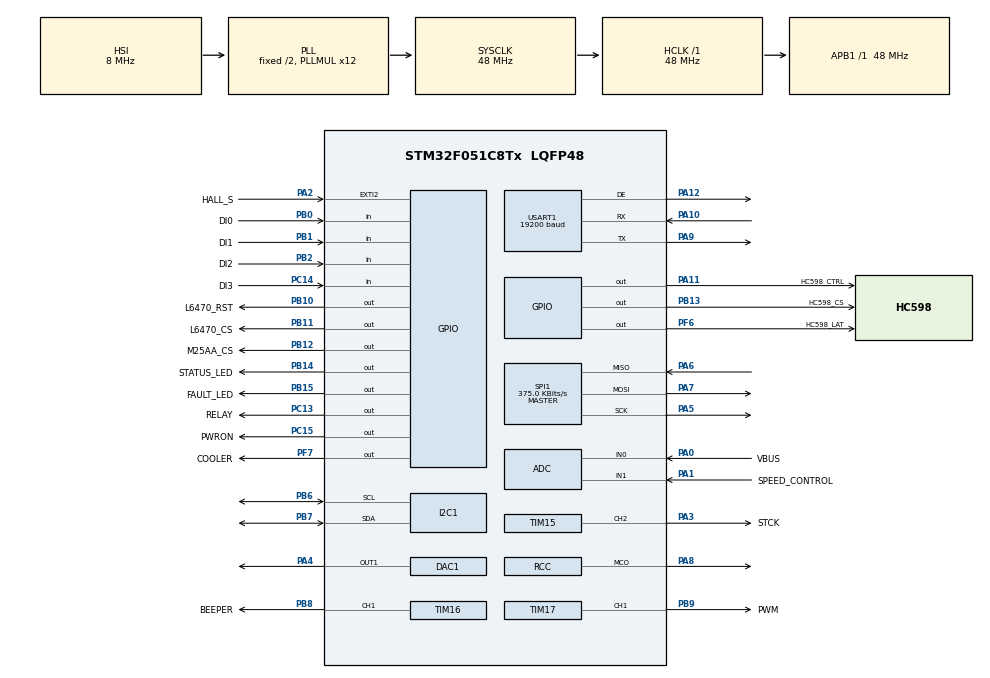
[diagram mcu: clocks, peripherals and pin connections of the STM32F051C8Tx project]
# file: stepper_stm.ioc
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ADC.Channel-1\#ChannelRegularConversion=ADC_CHANNEL_1
ADC.Channel-2\#ChannelRegularConversion=ADC_CHANNEL_TEMPSENSOR
ADC.Channel-IN=ADC_CHANNEL_TEMPSENSOR
ADC.Channel-IN1=ADC_CHANNEL_1
ADC.NbrOfConversion=3
ADC.NbrOfConversionFlag=1
ADC.Rank-0\#ChannelRegularConversion=1
ADC.Rank-1\#ChannelRegularConversion=2
ADC.Rank-2\#ChannelRegularConversion=3
ADC.SamplingTime=ADC_SAMPLETIME_13CYCLES_5
ADC.master=1
DAC1.DAC_OutputBuffer-DAC_OUT1=DAC_OUTPUTBUFFER_ENABLE
DAC1.DAC_Trigger-DAC_OUT1=DAC_TRIGGER_NONE
Mcu.Family=STM32F0
Mcu.Name=STM32F051C8Tx
Mcu.Package=LQFP48
Mcu.UserConstants=USE_HC598,1
NVIC.EXTI2_3_IRQn=true\:0\:0\:false\:false\:true\:true
NVIC.TIM6_DAC_IRQn=true\:0\:0\:false\:false\:true\:true
NVIC.USART1_IRQn=true\:0\:0\:false\:false\:true\:true
PA0.GPIO_Label=VBUS
PA0.Mode=IN0
PA0.Signal=ADC_IN0
PA1.GPIO_Label=SPEED_CONTROL
PA1.Mode=IN1
PA1.Signal=ADC_IN1
PA10.Mode=Asynchronous
PA10.Signal=USART1_RX
PA11.GPIO_Label=HC598_CTRL
PA11.GPIO_PuPd=GPIO_NOPULL
PA11.PinState=GPIO_PIN_SET
PA11.Signal=GPIO_Output
PA12.Mode=Hardware Flow Control (RS485)
PA12.Signal=USART1_DE
PA13.Mode=Serial_Wire
PA13.Signal=SYS_SWDIO
PA14.Mode=Serial_Wire
PA14.Signal=SYS_SWCLK
PA2.GPIO_Label=HALL_S
PA2.Signal=GPXTI2
PA3.GPIO_Label=STCK
PA3.Signal=S_TIM15_CH2
PA4.Signal=COMP_DAC11_group
PA5.GPIO_PuPd=GPIO_NOPULL
PA5.Mode=Full_Duplex_Master
PA5.Signal=SPI1_SCK
PA6.GPIO_PuPd=GPIO_NOPULL
PA6.Mode=Full_Duplex_Master
PA6.Signal=SPI1_MISO
PA7.GPIO_PuPd=GPIO_NOPULL
PA7.Mode=Full_Duplex_Master
PA7.Signal=SPI1_MOSI
PA8.Mode=Clock-out
PA8.Signal=RCC_MCO
PA9.Mode=Asynchronous
PA9.Signal=USART1_TX
PB0.GPIO_Label=DI0
PB0.GPIO_PuPd=GPIO_PULLUP
PB0.Signal=GPIO_Input
PB1.GPIO_Label=DI1
PB1.GPIO_PuPd=GPIO_PULLUP
PB1.Signal=GPIO_Input
PB10.GPIO_Label=L6470_RST
PB10.GPIO_PuPd=GPIO_PULLUP
PB10.Signal=GPIO_Output
PB11.GPIO_Label=L6470_CS
PB11.PinState=GPIO_PIN_SET
PB11.Signal=GPIO_Output
PB12.GPIO_Label=M25AA_CS
PB12.PinState=GPIO_PIN_SET
PB12.Signal=GPIO_Output
PB13.GPIO_Label=HC598_CS
PB13.PinState=GPIO_PIN_SET
PB13.Signal=GPIO_Output
PB14.GPIO_Label=STATUS_LED
PB14.GPIO_PuPd=GPIO_PULLUP
PB14.Signal=GPIO_Output
PB15.GPIO_Label=FAULT_LED
PB15.GPIO_PuPd=GPIO_PULLUP
PB15.Signal=GPIO_Output
PB2.GPIO_Label=DI2
PB2.GPIO_PuPd=GPIO_PULLUP
PB2.Signal=GPIO_Input
PB6.Mode=I2C
PB6.Signal=I2C1_SCL
PB7.Mode=I2C
PB7.Signal=I2C1_SDA
PB8.GPIO_Label=BEEPER
PB8.Signal=S_TIM16_CH1
PB9.GPIO_Label=PWM
PB9.Signal=S_TIM17_CH1
PC13.GPIO_Label=RELAY
PC13.Signal=GPIO_Output
PC14-OSC32_IN.GPIO_Label=DI3
PC14-OSC32_IN.GPIO_PuPd=GPIO_PULLUP
PC14-OSC32_IN.Signal=GPIO_Input
PC15-OSC32_OUT.GPIO_Label=PWRON
PC15-OSC32_OUT.Signal=GPIO_Output
PF0-OSC_IN.Mode=HSE-External-Oscillator
PF0-OSC_IN.Signal=RCC_OSC_IN
PF1-OSC_OUT.Mode=HSE-External-Oscillator
PF1-OSC_OUT.Signal=RCC_OSC_OUT
PF6.GPIO_Label=HC598_LAT
PF6.Signal=GPIO_Output
PF7.GPIO_Label=COOLER
PF7.Signal=GPIO_Output
ProjectManager.HeapSize=0x200
ProjectManager.StackSize=0x400
ProjectManager.TargetToolchain=Other Toolchains (GPDSC)
RCC.AHBFreq_Value=48000000
RCC.APB1Freq_Value=48000000
RCC.APB1TimFreq_Value=48000000
RCC.FLatency=FLASH_LATENCY_1
RCC.HCLKFreq_Value=48000000
RCC.HSI14CalibrationValue=16
RCC.PLLMUL=RCC_PLL_MUL12
RCC.SYSCLKFreq_VALUE=48000000
RCC.SYSCLKSource=RCC_SYSCLKSOURCE_PLLCLK
SH.COMP_DAC11_group.0=DAC1_OUT1,DAC_OUT1
SH.S_TIM15_CH2.0=TIM15_CH2,Output Compare2 CH2
SH.S_TIM16_CH1.0=TIM16_CH1,Output Compare1 CH1
SH.S_TIM17_CH1.0=TIM17_CH1,PWM Generation1 CH1
SPI1.BaudRatePrescaler=SPI_BAUDRATEPRESCALER_128
SPI1.CalculateBaudRate=375.0 KBits/s
SPI1.DataSize=SPI_DATASIZE_8BIT
SPI1.Direction=SPI_DIRECTION_2LINES
SPI1.Mode=SPI_MODE_MASTER
SPI1.VirtualType=VM_MASTER
TIM14.Period=1000
TIM15.Channel-Output\ Compare2\ CH2=TIM_CHANNEL_2
TIM16.Channel=TIM_CHANNEL_1
TIM16.OCMode_1=TIM_OCMODE_TOGGLE
TIM16.Period=24000
TIM17.Channel=TIM_CHANNEL_1
TIM6.Period=1000
USART1.BaudRate=19200
USART1.VirtualMode-Asynchronous=VM_ASYNC
USART1.VirtualMode-Hardware\ Flow\ Control\ (RS485)=VM_ASYNC
VP_ADC_TempSens_Input.Mode=IN-TempSens
VP_IWDG_VS_IWDG.Mode=IWDG_Activate
VP_TIM14_VS_ClockSourceINT.Mode=Enable_Timer
VP_TIM16_VS_ClockSourceINT.Mode=Enable_Timer
VP_TIM17_VS_ClockSourceINT.Mode=Enable_Timer
VP_TIM6_VS_ClockSourceINT.Mode=Enable_Timer
VP_TIM6_VS_OPM.Mode=OPM_bit
board=custom

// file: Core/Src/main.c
/**
  ******************************************************************************
  * @file           : main.c
  * @brief          : Main program body
  ******************************************************************************
  ** This notice applies to any and all portions of this file
  * that are not between comment pairs USER CODE BEGIN and
  * USER CODE END. Other portions of this file, whether
  * inserted by the user or by software development tools
  * are owned by their respective copyright owners.
  *
  * COPYRIGHT(c) 2018 STMicroelectronics
  *
  * Redistribution and use in source and binary forms, with or without modification,
  * are permitted provided that the following conditions are met:
  *   1. Redistributions of source code must retain the above copyright notice,
  *      this list of conditions and the following disclaimer.
  *   2. Redistributions in binary form must reproduce the above copyright notice,
  *      this list of conditions and the following disclaimer in the documentation
  *      and/or other materials provided with the distribution.
  *   3. Neither the name of STMicroelectronics nor the names of its contributors
  *      may be used to endorse or promote products derived from this software
  *      without specific prior written permission.
  *
  * THIS SOFTWARE IS PROVIDED BY THE COPYRIGHT HOLDERS AND CONTRIBUTORS "AS IS"
  * AND ANY EXPRESS OR IMPLIED WARRANTIES, INCLUDING, BUT NOT LIMITED TO, THE
  * IMPLIED WARRANTIES OF MERCHANTABILITY AND FITNESS FOR A PARTICULAR PURPOSE ARE
  * DISCLAIMED. IN NO EVENT SHALL THE COPYRIGHT HOLDER OR CONTRIBUTORS BE LIABLE
  * FOR ANY DIRECT, INDIRECT, INCIDENTAL, SPECIAL, EXEMPLARY, OR CONSEQUENTIAL
  * DAMAGES (INCLUDING, BUT NOT LIMITED TO, PROCUREMENT OF SUBSTITUTE GOODS OR
  * SERVICES; LOSS OF USE, DATA, OR PROFITS; OR BUSINESS INTERRUPTION) HOWEVER
  * CAUSED AND ON ANY THEORY OF LIABILITY, WHETHER IN CONTRACT, STRICT LIABILITY,
  * OR TORT (INCLUDING NEGLIGENCE OR OTHERWISE) ARISING IN ANY WAY OUT OF THE USE
  * OF THIS SOFTWARE, EVEN IF ADVISED OF THE POSSIBILITY OF SUCH DAMAGE.
  *
  ******************************************************************************
  */
#include "main.h"
#include "stm32f0xx_hal.h"

/* USER CODE BEGIN Includes */
#include "software.h"
#include "user_mb_app.h"
#include "board_cmsis.h"

/* USER CODE END Includes */

ADC_HandleTypeDef hadc;

DAC_HandleTypeDef hdac1;

I2C_HandleTypeDef hi2c1;

IWDG_HandleTypeDef hiwdg;

SPI_HandleTypeDef hspi1;

TIM_HandleTypeDef htim6;
TIM_HandleTypeDef htim14;
TIM_HandleTypeDef htim15;
TIM_HandleTypeDef htim16;
TIM_HandleTypeDef htim17;

UART_HandleTypeDef huart1;

void SystemClock_Config(void);
static void MX_GPIO_Init(void);
static void MX_ADC_Init(void);
static void MX_DAC1_Init(void);
static void MX_I2C1_Init(void);
static void MX_IWDG_Init(void);
static void MX_SPI1_Init(void);
static void MX_TIM6_Init(void);
static void MX_TIM14_Init(void);
static void MX_TIM15_Init(void);
static void MX_TIM16_Init(void);
static void MX_TIM17_Init(void);
static void MX_USART1_UART_Init(void);

void HAL_TIM_MspPostInit(TIM_HandleTypeDef *htim);

/* USER CODE BEGIN PFP */
SmcHandle_TypeDef SMC_Control;

MbPortParams_TypeDef MbPortParams = {
    .Uart = MB_PORT_DEF,
    .ModbusActive = false,
    .MbAddr = { .pmbus = &usRegHoldingBuf[HR_MBADDR], .cvalue = MBADDR_DEF},
    .Baudrate = { .pmbus = &usRegHoldingBuf[HR_MBBAUDRATE], .cvalue = MBBAURATE_DEF },
    .Parity = { .pmbus = &usRegHoldingBuf[HR_MBPARITY], .cvalue = MBPARITY_DEF },
    .StopBits = { .pmbus = &usRegHoldingBuf[HR_MBSTOPBITS], .cvalue = MBSTOPBITS_DEF },
    .DataBits  = { .pmbus = NULL, .cvalue = MBWORDLENGHT_DEF }
};

uint32_t timestamp = 0, wtime = 0;
/* Private function prototypes -----------------------------------------------*/
/* USER CODE END PFP */

int main(void)
{
  /* USER CODE BEGIN 1 */
    static uint32_t delay = 0;
  /* USER CODE END 1 */

  /* MCU Configuration----------------------------------------------------------*/

  /* Reset of all peripherals, Initializes the Flash interface and the Systick. */
  HAL_Init();

  /* Configure the system clock */
  SystemClock_Config();

  /* Initialize all configured peripherals */
  MX_GPIO_Init();
  MX_ADC_Init();
  MX_DAC1_Init();
  MX_I2C1_Init();
  //MX_IWDG_Init();
  MX_SPI1_Init();
  MX_TIM6_Init();
  MX_TIM14_Init();
  MX_TIM15_Init();
  MX_TIM16_Init();
  MX_TIM17_Init();
  MX_USART1_UART_Init();
  /* USER CODE BEGIN 2 */

    wtime = GetWTime();

    BSP_HW_Init();

    SMC_Control.SMC_State = FSM_STATE_INIT;

  /* USER CODE END 2 */

  /* Infinite loop */
  /* USER CODE BEGIN WHILE */
  while (1)
  {
      if(delay < timestamp){

            /* resetinam watchdog'a */
            if( xMbGetCoil( CO_WDT_FUNC ) != RESET ){
                (void)HAL_IWDG_Refresh(&hiwdg);
            }

            delay = timestamp + 20;

            SystemDataUpdate();

            MbDataUpdate();

            LedsController();

            FSM_Manager();
      }
  /* USER CODE END WHILE */

  /* USER CODE BEGIN 3 */
    (void)eMBPoll();
  }
  /* USER CODE END 3 */

}

void SystemClock_Config(void)
{

  RCC_OscInitTypeDef RCC_OscInitStruct;
  RCC_ClkInitTypeDef RCC_ClkInitStruct;
  RCC_PeriphCLKInitTypeDef PeriphClkInit;

    /**Initializes the CPU, AHB and APB busses clocks
    */
  RCC_OscInitStruct.OscillatorType = RCC_OSCILLATORTYPE_HSI|RCC_OSCILLATORTYPE_HSI14
                              |RCC_OSCILLATORTYPE_LSI;
  RCC_OscInitStruct.HSIState = RCC_HSI_ON;
  RCC_OscInitStruct.HSI14State = RCC_HSI14_ON;
  RCC_OscInitStruct.HSICalibrationValue = 16;
  RCC_OscInitStruct.HSI14CalibrationValue = 16;
  RCC_OscInitStruct.LSIState = RCC_LSI_ON;
  RCC_OscInitStruct.PLL.PLLState = RCC_PLL_ON;
  RCC_OscInitStruct.PLL.PLLSource = RCC_PLLSOURCE_HSI;
  RCC_OscInitStruct.PLL.PLLMUL = RCC_PLL_MUL12;
  RCC_OscInitStruct.PLL.PREDIV = RCC_PREDIV_DIV1;
  if (HAL_RCC_OscConfig(&RCC_OscInitStruct) != HAL_OK)
  {
    _Error_Handler(__FILE__, __LINE__);
  }

    /**Initializes the CPU, AHB and APB busses clocks
    */
  RCC_ClkInitStruct.ClockType = RCC_CLOCKTYPE_HCLK|RCC_CLOCKTYPE_SYSCLK
                              |RCC_CLOCKTYPE_PCLK1;
  RCC_ClkInitStruct.SYSCLKSource = RCC_SYSCLKSOURCE_PLLCLK;
  RCC_ClkInitStruct.AHBCLKDivider = RCC_SYSCLK_DIV1;
  RCC_ClkInitStruct.APB1CLKDivider = RCC_HCLK_DIV1;

  if (HAL_RCC_ClockConfig(&RCC_ClkInitStruct, FLASH_LATENCY_1) != HAL_OK)
  {
    _Error_Handler(__FILE__, __LINE__);
  }

  PeriphClkInit.PeriphClockSelection = RCC_PERIPHCLK_USART1|RCC_PERIPHCLK_I2C1;
  PeriphClkInit.Usart1ClockSelection = RCC_USART1CLKSOURCE_PCLK1;
  PeriphClkInit.I2c1ClockSelection = RCC_I2C1CLKSOURCE_HSI;
  if (HAL_RCCEx_PeriphCLKConfig(&PeriphClkInit) != HAL_OK)
  {
    _Error_Handler(__FILE__, __LINE__);
  }

  HAL_RCC_MCOConfig(RCC_MCO, RCC_MCO1SOURCE_SYSCLK, RCC_MCODIV_1);

    /**Configure the Systick interrupt time
    */
  HAL_SYSTICK_Config(HAL_RCC_GetHCLKFreq()/1000);

    /**Configure the Systick
    */
  HAL_SYSTICK_CLKSourceConfig(SYSTICK_CLKSOURCE_HCLK);

  /* SysTick_IRQn interrupt configuration */
  HAL_NVIC_SetPriority(SysTick_IRQn, 0, 0);
}

/* ADC init function */
static void MX_ADC_Init(void)
{

  ADC_ChannelConfTypeDef sConfig;

    /**Configure the global features of the ADC (Clock, Resolution, Data Alignment and number of conversion)
    */
  hadc.Instance = ADC1;
  hadc.Init.ClockPrescaler = ADC_CLOCK_ASYNC_DIV1;
  hadc.Init.Resolution = ADC_RESOLUTION_12B;
  hadc.Init.DataAlign = ADC_DATAALIGN_RIGHT;
  hadc.Init.ScanConvMode = ADC_SCAN_DIRECTION_FORWARD;
  hadc.Init.EOCSelection = ADC_EOC_SINGLE_CONV;
  hadc.Init.LowPowerAutoWait = DISABLE;
  hadc.Init.LowPowerAutoPowerOff = DISABLE;
  hadc.Init.ContinuousConvMode = DISABLE;
  hadc.Init.DiscontinuousConvMode = DISABLE;
  hadc.Init.ExternalTrigConv = ADC_SOFTWARE_START;
  hadc.Init.ExternalTrigConvEdge = ADC_EXTERNALTRIGCONVEDGE_NONE;
  hadc.Init.DMAContinuousRequests = DISABLE;
  hadc.Init.Overrun = ADC_OVR_DATA_PRESERVED;
  if (HAL_ADC_Init(&hadc) != HAL_OK)
  {
    _Error_Handler(__FILE__, __LINE__);
  }

    /**Configure for the selected ADC regular channel to be converted.
    */
  sConfig.Channel = ADC_CHANNEL_0;
  sConfig.Rank = ADC_RANK_CHANNEL_NUMBER;
  sConfig.SamplingTime = ADC_SAMPLETIME_13CYCLES_5;
  if (HAL_ADC_ConfigChannel(&hadc, &sConfig) != HAL_OK)
  {
    _Error_Handler(__FILE__, __LINE__);
  }

    /**Configure for the selected ADC regular channel to be converted.
    */
  sConfig.Channel = ADC_CHANNEL_1;
  if (HAL_ADC_ConfigChannel(&hadc, &sConfig) != HAL_OK)
  {
    _Error_Handler(__FILE__, __LINE__);
  }

    /**Configure for the selected ADC regular channel to be converted.
    */
  sConfig.Channel = ADC_CHANNEL_TEMPSENSOR;
  if (HAL_ADC_ConfigChannel(&hadc, &sConfig) != HAL_OK)
  {
    _Error_Handler(__FILE__, __LINE__);
  }

}

/* DAC1 init function */
static void MX_DAC1_Init(void)
{

  DAC_ChannelConfTypeDef sConfig;

    /**DAC Initialization
    */
  hdac1.Instance = DAC;
  if (HAL_DAC_Init(&hdac1) != HAL_OK)
  {
    _Error_Handler(__FILE__, __LINE__);
  }

    /**DAC channel OUT1 config
    */
  sConfig.DAC_Trigger = DAC_TRIGGER_NONE;
  sConfig.DAC_OutputBuffer = DAC_OUTPUTBUFFER_ENABLE;
  if (HAL_DAC_ConfigChannel(&hdac1, &sConfig, DAC_CHANNEL_1) != HAL_OK)
  {
    _Error_Handler(__FILE__, __LINE__);
  }

}

/* I2C1 init function */
static void MX_I2C1_Init(void)
{

  hi2c1.Instance = I2C1;
  hi2c1.Init.Timing = 0x2000090E;
  hi2c1.Init.OwnAddress1 = 0;
  hi2c1.Init.AddressingMode = I2C_ADDRESSINGMODE_7BIT;
  hi2c1.Init.DualAddressMode = I2C_DUALADDRESS_DISABLE;
  hi2c1.Init.OwnAddress2 = 0;
  hi2c1.Init.OwnAddress2Masks = I2C_OA2_NOMASK;
  hi2c1.Init.GeneralCallMode = I2C_GENERALCALL_DISABLE;
  hi2c1.Init.NoStretchMode = I2C_NOSTRETCH_DISABLE;
  if (HAL_I2C_Init(&hi2c1) != HAL_OK)
  {
    _Error_Handler(__FILE__, __LINE__);
  }

    /**Configure Analogue filter
    */
  if (HAL_I2CEx_ConfigAnalogFilter(&hi2c1, I2C_ANALOGFILTER_ENABLE) != HAL_OK)
  {
    _Error_Handler(__FILE__, __LINE__);
  }

    /**Configure Digital filter
    */
  if (HAL_I2CEx_ConfigDigitalFilter(&hi2c1, 0) != HAL_OK)
  {
    _Error_Handler(__FILE__, __LINE__);
  }

}

/* IWDG init function */
static void MX_IWDG_Init(void)
{

  hiwdg.Instance = IWDG;
  hiwdg.Init.Prescaler = IWDG_PRESCALER_4;
  hiwdg.Init.Window = 4095;
  hiwdg.Init.Reload = 4095;
  if (HAL_IWDG_Init(&hiwdg) != HAL_OK)
  {
    _Error_Handler(__FILE__, __LINE__);
  }

}

/* SPI1 init function */
static void MX_SPI1_Init(void)
{

  /* SPI1 parameter configuration*/
  hspi1.Instance = SPI1;
  hspi1.Init.Mode = SPI_MODE_MASTER;
  hspi1.Init.Direction = SPI_DIRECTION_2LINES;
  hspi1.Init.DataSize = SPI_DATASIZE_8BIT;
  hspi1.Init.CLKPolarity = SPI_POLARITY_LOW;
  hspi1.Init.CLKPhase = SPI_PHASE_1EDGE;
  hspi1.Init.NSS = SPI_NSS_SOFT;
  hspi1.Init.BaudRatePrescaler = SPI_BAUDRATEPRESCALER_128;
  hspi1.Init.FirstBit = SPI_FIRSTBIT_MSB;
  hspi1.Init.TIMode = SPI_TIMODE_DISABLE;
  hspi1.Init.CRCCalculation = SPI_CRCCALCULATION_DISABLE;
  hspi1.Init.CRCPolynomial = 7;
  hspi1.Init.CRCLength = SPI_CRC_LENGTH_DATASIZE;
  hspi1.Init.NSSPMode = SPI_NSS_PULSE_ENABLE;
  if (HAL_SPI_Init(&hspi1) != HAL_OK)
  {
    _Error_Handler(__FILE__, __LINE__);
  }

}

/* TIM6 init function */
static void MX_TIM6_Init(void)
{

  TIM_MasterConfigTypeDef sMasterConfig;

  htim6.Instance = TIM6;
  htim6.Init.Prescaler = 0;
  htim6.Init.CounterMode = TIM_COUNTERMODE_UP;
  htim6.Init.Period = 1000;
  htim6.Init.AutoReloadPreload = TIM_AUTORELOAD_PRELOAD_DISABLE;
  if (HAL_TIM_Base_Init(&htim6) != HAL_OK)
  {
    _Error_Handler(__FILE__, __LINE__);
  }

  if (HAL_TIM_OnePulse_Init(&htim6, TIM_OPMODE_SINGLE) != HAL_OK)
  {
    _Error_Handler(__FILE__, __LINE__);
  }

  sMasterConfig.MasterOutputTrigger = TIM_TRGO_RESET;
  sMasterConfig.MasterSlaveMode = TIM_MASTERSLAVEMODE_DISABLE;
  if (HAL_TIMEx_MasterConfigSynchronization(&htim6, &sMasterConfig) != HAL_OK)
  {
    _Error_Handler(__FILE__, __LINE__);
  }

}

/* TIM14 init function */
static void MX_TIM14_Init(void)
{

  htim14.Instance = TIM14;
  htim14.Init.Prescaler = 0;
  htim14.Init.CounterMode = TIM_COUNTERMODE_UP;
  htim14.Init.Period = 1000;
  htim14.Init.ClockDivision = TIM_CLOCKDIVISION_DIV1;
  htim14.Init.AutoReloadPreload = TIM_AUTORELOAD_PRELOAD_DISABLE;
  if (HAL_TIM_Base_Init(&htim14) != HAL_OK)
  {
    _Error_Handler(__FILE__, __LINE__);
  }

}

/* TIM15 init function */
static void MX_TIM15_Init(void)
{

  TIM_MasterConfigTypeDef sMasterConfig;
  TIM_OC_InitTypeDef sConfigOC;
  TIM_BreakDeadTimeConfigTypeDef sBreakDeadTimeConfig;

  htim15.Instance = TIM15;
  htim15.Init.Prescaler = 0;
  htim15.Init.CounterMode = TIM_COUNTERMODE_UP;
  htim15.Init.Period = 0;
  htim15.Init.ClockDivision = TIM_CLOCKDIVISION_DIV1;
  htim15.Init.RepetitionCounter = 0;
  htim15.Init.AutoReloadPreload = TIM_AUTORELOAD_PRELOAD_DISABLE;
  if (HAL_TIM_OC_Init(&htim15) != HAL_OK)
  {
    _Error_Handler(__FILE__, __LINE__);
  }

  sMasterConfig.MasterOutputTrigger = TIM_TRGO_RESET;
  sMasterConfig.MasterSlaveMode = TIM_MASTERSLAVEMODE_DISABLE;
  if (HAL_TIMEx_MasterConfigSynchronization(&htim15, &sMasterConfig) != HAL_OK)
  {
    _Error_Handler(__FILE__, __LINE__);
  }

  sConfigOC.OCMode = TIM_OCMODE_TIMING;
  sConfigOC.Pulse = 0;
  sConfigOC.OCPolarity = TIM_OCPOLARITY_HIGH;
  sConfigOC.OCNPolarity = TIM_OCNPOLARITY_HIGH;
  sConfigOC.OCFastMode = TIM_OCFAST_DISABLE;
  sConfigOC.OCIdleState = TIM_OCIDLESTATE_RESET;
  sConfigOC.OCNIdleState = TIM_OCNIDLESTATE_RESET;
  if (HAL_TIM_OC_ConfigChannel(&htim15, &sConfigOC, TIM_CHANNEL_2) != HAL_OK)
  {
    _Error_Handler(__FILE__, __LINE__);
  }

  sBreakDeadTimeConfig.OffStateRunMode = TIM_OSSR_DISABLE;
  sBreakDeadTimeConfig.OffStateIDLEMode = TIM_OSSI_DISABLE;
  sBreakDeadTimeConfig.LockLevel = TIM_LOCKLEVEL_OFF;
  sBreakDeadTimeConfig.DeadTime = 0;
  sBreakDeadTimeConfig.BreakState = TIM_BREAK_DISABLE;
  sBreakDeadTimeConfig.BreakPolarity = TIM_BREAKPOLARITY_HIGH;
  sBreakDeadTimeConfig.AutomaticOutput = TIM_AUTOMATICOUTPUT_DISABLE;
  if (HAL_TIMEx_ConfigBreakDeadTime(&htim15, &sBreakDeadTimeConfig) != HAL_OK)
  {
    _Error_Handler(__FILE__, __LINE__);
  }

  HAL_TIM_MspPostInit(&htim15);

}

/* TIM16 init function */
static void MX_TIM16_Init(void)
{

  TIM_OC_InitTypeDef sConfigOC;
  TIM_BreakDeadTimeConfigTypeDef sBreakDeadTimeConfig;

  htim16.Instance = TIM16;
  htim16.Init.Prescaler = 0;
  htim16.Init.CounterMode = TIM_COUNTERMODE_UP;
  htim16.Init.Period = 24000;
  htim16.Init.ClockDivision = TIM_CLOCKDIVISION_DIV1;
  htim16.Init.RepetitionCounter = 0;
  htim16.Init.AutoReloadPreload = TIM_AUTORELOAD_PRELOAD_DISABLE;
  if (HAL_TIM_Base_Init(&htim16) != HAL_OK)
  {
    _Error_Handler(__FILE__, __LINE__);
  }

  if (HAL_TIM_OC_Init(&htim16) != HAL_OK)
  {
    _Error_Handler(__FILE__, __LINE__);
  }

  sConfigOC.OCMode = TIM_OCMODE_TOGGLE;
  sConfigOC.Pulse = 0;
  sConfigOC.OCPolarity = TIM_OCPOLARITY_HIGH;
  sConfigOC.OCNPolarity = TIM_OCNPOLARITY_HIGH;
  sConfigOC.OCFastMode = TIM_OCFAST_DISABLE;
  sConfigOC.OCIdleState = TIM_OCIDLESTATE_RESET;
  sConfigOC.OCNIdleState = TIM_OCNIDLESTATE_RESET;
  if (HAL_TIM_OC_ConfigChannel(&htim16, &sConfigOC, TIM_CHANNEL_1) != HAL_OK)
  {
    _Error_Handler(__FILE__, __LINE__);
  }

  sBreakDeadTimeConfig.OffStateRunMode = TIM_OSSR_DISABLE;
  sBreakDeadTimeConfig.OffStateIDLEMode = TIM_OSSI_DISABLE;
  sBreakDeadTimeConfig.LockLevel = TIM_LOCKLEVEL_OFF;
  sBreakDeadTimeConfig.DeadTime = 0;
  sBreakDeadTimeConfig.BreakState = TIM_BREAK_DISABLE;
  sBreakDeadTimeConfig.BreakPolarity = TIM_BREAKPOLARITY_HIGH;
  sBreakDeadTimeConfig.AutomaticOutput = TIM_AUTOMATICOUTPUT_DISABLE;
  if (HAL_TIMEx_ConfigBreakDeadTime(&htim16, &sBreakDeadTimeConfig) != HAL_OK)
  {
    _Error_Handler(__FILE__, __LINE__);
  }

  HAL_TIM_MspPostInit(&htim16);

}

/* TIM17 init function */
static void MX_TIM17_Init(void)
{

  TIM_OC_InitTypeDef sConfigOC;
  TIM_BreakDeadTimeConfigTypeDef sBreakDeadTimeConfig;

  htim17.Instance = TIM17;
  htim17.Init.Prescaler = 0;
  htim17.Init.CounterMode = TIM_COUNTERMODE_UP;
  htim17.Init.Period = 0;
  htim17.Init.ClockDivision = TIM_CLOCKDIVISION_DIV1;
  htim17.Init.RepetitionCounter = 0;
  htim17.Init.AutoReloadPreload = TIM_AUTORELOAD_PRELOAD_DISABLE;
  if (HAL_TIM_Base_Init(&htim17) != HAL_OK)
  {
    _Error_Handler(__FILE__, __LINE__);
  }

  if (HAL_TIM_PWM_Init(&htim17) != HAL_OK)
  {
    _Error_Handler(__FILE__, __LINE__);
  }

  sConfigOC.OCMode = TIM_OCMODE_PWM1;
  sConfigOC.Pulse = 0;
  sConfigOC.OCPolarity = TIM_OCPOLARITY_HIGH;
  sConfigOC.OCNPolarity = TIM_OCNPOLARITY_HIGH;
  sConfigOC.OCFastMode = TIM_OCFAST_DISABLE;
  sConfigOC.OCIdleState = TIM_OCIDLESTATE_RESET;
  sConfigOC.OCNIdleState = TIM_OCNIDLESTATE_RESET;
  if (HAL_TIM_PWM_ConfigChannel(&htim17, &sConfigOC, TIM_CHANNEL_1) != HAL_OK)
  {
    _Error_Handler(__FILE__, __LINE__);
  }

  sBreakDeadTimeConfig.OffStateRunMode = TIM_OSSR_DISABLE;
  sBreakDeadTimeConfig.OffStateIDLEMode = TIM_OSSI_DISABLE;
  sBreakDeadTimeConfig.LockLevel = TIM_LOCKLEVEL_OFF;
  sBreakDeadTimeConfig.DeadTime = 0;
  sBreakDeadTimeConfig.BreakState = TIM_BREAK_DISABLE;
  sBreakDeadTimeConfig.BreakPolarity = TIM_BREAKPOLARITY_HIGH;
  sBreakDeadTimeConfig.AutomaticOutput = TIM_AUTOMATICOUTPUT_DISABLE;
  if (HAL_TIMEx_ConfigBreakDeadTime(&htim17, &sBreakDeadTimeConfig) != HAL_OK)
  {
    _Error_Handler(__FILE__, __LINE__);
  }

  HAL_TIM_MspPostInit(&htim17);

}

/* USART1 init function */
static void MX_USART1_UART_Init(void)
{

  huart1.Instance = USART1;
  huart1.Init.BaudRate = 19200;
  huart1.Init.WordLength = UART_WORDLENGTH_8B;
  huart1.Init.StopBits = UART_STOPBITS_1;
  huart1.Init.Parity = UART_PARITY_NONE;
  huart1.Init.Mode = UART_MODE_TX_RX;
  huart1.Init.HwFlowCtl = UART_HWCONTROL_NONE;
  huart1.Init.OverSampling = UART_OVERSAMPLING_16;
  huart1.Init.OneBitSampling = UART_ONE_BIT_SAMPLE_DISABLE;
  huart1.AdvancedInit.AdvFeatureInit = UART_ADVFEATURE_NO_INIT;
  if (HAL_RS485Ex_Init(&huart1, UART_DE_POLARITY_HIGH, 0, 0) != HAL_OK)
  {
    _Error_Handler(__FILE__, __LINE__);
  }

}

/** Configure pins as
        * Analog
        * Input
        * Output
        * EVENT_OUT
        * EXTI
     PA8   ------> RCC_MCO
*/
static void MX_GPIO_Init(void)
{

  GPIO_InitTypeDef GPIO_InitStruct;

  /* GPIO Ports Clock Enable */
  __HAL_RCC_GPIOC_CLK_ENABLE();
  __HAL_RCC_GPIOF_CLK_ENABLE();
  __HAL_RCC_GPIOA_CLK_ENABLE();
  __HAL_RCC_GPIOB_CLK_ENABLE();

  /*Configure GPIO pin Output Level */
  HAL_GPIO_WritePin(GPIOC, RELAY_Pin|PWRON_Pin, GPIO_PIN_RESET);

  /*Configure GPIO pin Output Level */
  HAL_GPIO_WritePin(GPIOB, L6470_RST_Pin|STATUS_LED_Pin|FAULT_LED_Pin, GPIO_PIN_RESET);

  /*Configure GPIO pin Output Level */
  HAL_GPIO_WritePin(GPIOB, L6470_CS_Pin|M25AA_CS_Pin|HC598_CS_Pin, GPIO_PIN_SET);

  /*Configure GPIO pin Output Level */
  HAL_GPIO_WritePin(HC598_CTRL_GPIO_Port, HC598_CTRL_Pin, GPIO_PIN_SET);

  /*Configure GPIO pin Output Level */
  HAL_GPIO_WritePin(GPIOF, HC598_LAT_Pin|COOLER_Pin, GPIO_PIN_RESET);

  /*Configure GPIO pins : RELAY_Pin PWRON_Pin */
  GPIO_InitStruct.Pin = RELAY_Pin|PWRON_Pin;
  GPIO_InitStruct.Mode = GPIO_MODE_OUTPUT_PP;
  GPIO_InitStruct.Pull = GPIO_NOPULL;
  GPIO_InitStruct.Speed = GPIO_SPEED_FREQ_LOW;
  HAL_GPIO_Init(GPIOC, &GPIO_InitStruct);

  /*Configure GPIO pin : DI3_Pin */
  GPIO_InitStruct.Pin = DI3_Pin;
  GPIO_InitStruct.Mode = GPIO_MODE_INPUT;
  GPIO_InitStruct.Pull = GPIO_PULLUP;
  HAL_GPIO_Init(DI3_GPIO_Port, &GPIO_InitStruct);

  /*Configure GPIO pin : HALL_S_Pin */
  GPIO_InitStruct.Pin = HALL_S_Pin;
  GPIO_InitStruct.Mode = GPIO_MODE_IT_RISING;
  GPIO_InitStruct.Pull = GPIO_NOPULL;
  HAL_GPIO_Init(HALL_S_GPIO_Port, &GPIO_InitStruct);

  /*Configure GPIO pins : DI0_Pin DI1_Pin DI2_Pin */
  GPIO_InitStruct.Pin = DI0_Pin|DI1_Pin|DI2_Pin;
  GPIO_InitStruct.Mode = GPIO_MODE_INPUT;
  GPIO_InitStruct.Pull = GPIO_PULLUP;
  HAL_GPIO_Init(GPIOB, &GPIO_InitStruct);

  /*Configure GPIO pins : L6470_RST_Pin STATUS_LED_Pin FAULT_LED_Pin */
  GPIO_InitStruct.Pin = L6470_RST_Pin|STATUS_LED_Pin|FAULT_LED_Pin;
  GPIO_InitStruct.Mode = GPIO_MODE_OUTPUT_PP;
  GPIO_InitStruct.Pull = GPIO_PULLUP;
  GPIO_InitStruct.Speed = GPIO_SPEED_FREQ_LOW;
  HAL_GPIO_Init(GPIOB, &GPIO_InitStruct);

  /*Configure GPIO pins : L6470_CS_Pin M25AA_CS_Pin HC598_CS_Pin */
  GPIO_InitStruct.Pin = L6470_CS_Pin|M25AA_CS_Pin|HC598_CS_Pin;
  GPIO_InitStruct.Mode = GPIO_MODE_OUTPUT_PP;
  GPIO_InitStruct.Pull = GPIO_NOPULL;
  GPIO_InitStruct.Speed = GPIO_SPEED_FREQ_LOW;
  HAL_GPIO_Init(GPIOB, &GPIO_InitStruct);

  /*Configure GPIO pin : PA8 */
  GPIO_InitStruct.Pin = GPIO_PIN_8;
  GPIO_InitStruct.Mode = GPIO_MODE_AF_PP;
  GPIO_InitStruct.Pull = GPIO_NOPULL;
  GPIO_InitStruct.Speed = GPIO_SPEED_FREQ_LOW;
  GPIO_InitStruct.Alternate = GPIO_AF0_MCO;
  HAL_GPIO_Init(GPIOA, &GPIO_InitStruct);

  /*Configure GPIO pin : HC598_CTRL_Pin */
  GPIO_InitStruct.Pin = HC598_CTRL_Pin;
  GPIO_InitStruct.Mode = GPIO_MODE_OUTPUT_PP;
  GPIO_InitStruct.Pull = GPIO_NOPULL;
  GPIO_InitStruct.Speed = GPIO_SPEED_FREQ_LOW;
  HAL_GPIO_Init(HC598_CTRL_GPIO_Port, &GPIO_InitStruct);

  /*Configure GPIO pins : HC598_LAT_Pin COOLER_Pin */
  GPIO_InitStruct.Pin = HC598_LAT_Pin|COOLER_Pin;
  GPIO_InitStruct.Mode = GPIO_MODE_OUTPUT_PP;
  GPIO_InitStruct.Pull = GPIO_NOPULL;
  GPIO_InitStruct.Speed = GPIO_SPEED_FREQ_LOW;
  HAL_GPIO_Init(GPIOF, &GPIO_InitStruct);

  /* EXTI interrupt init*/
  HAL_NVIC_SetPriority(EXTI2_3_IRQn, 0, 0);
  HAL_NVIC_EnableIRQ(EXTI2_3_IRQn);

}

void _Error_Handler(char *file, int line)
{
  while(1)
  {
  }
}

/************************ (C) COPYRIGHT STMicroelectronics *****END OF FILE****/
